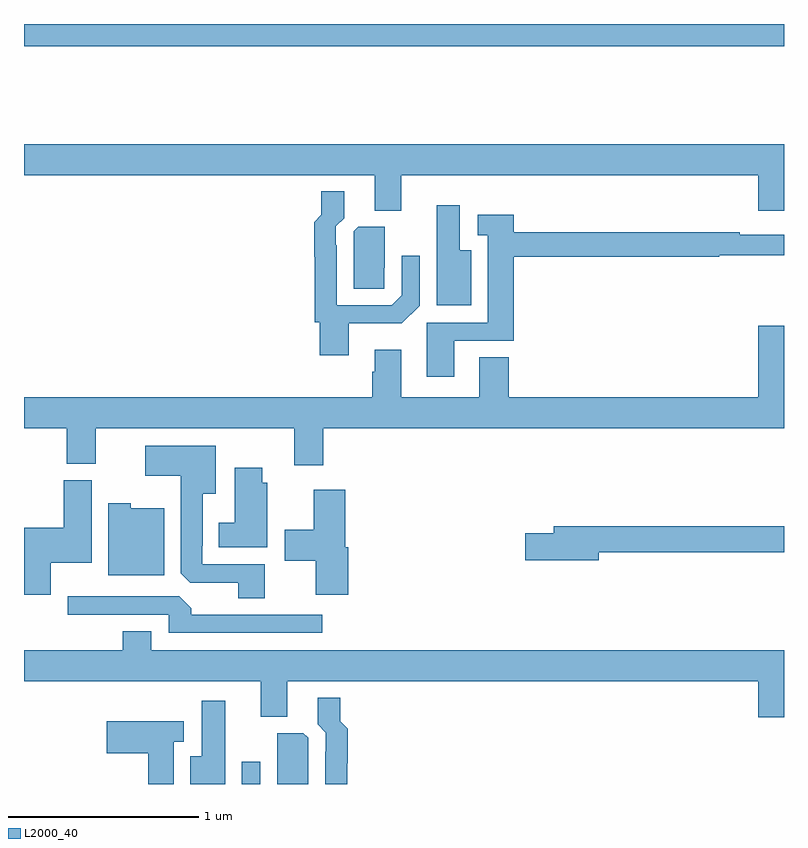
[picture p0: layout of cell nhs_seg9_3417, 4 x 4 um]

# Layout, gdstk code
import gdstk
lib = gdstk.Library(unit=1e-6, precision=1e-09)
def R(c, l, rs):  # rectangles x0, y0, x1, y1
    for r in rs: c.add(gdstk.rectangle(r[:2], r[2:], *l))
def P(c, l, *ps):  # polygons
    for p in ps: c.add(gdstk.Polygon(p, *l))
L2000_40 = (2000, 40)

nhs_seg9_3417 = lib.new_cell('nhs_seg9_3417')
R(nhs_seg9_3417, L2000_40, [(306.147,1242.5,306.243,1242.616), (305,1246.384,309,1246.5)])
P(nhs_seg9_3417, L2000_40, [(305,1245.704),(306.845,1245.704),(306.845,1245.517),(306.985,1245.517),(306.985,1245.704),(308.864,1245.704),(308.864,1245.516),(309,1245.516),(309,1245.868),(305,1245.868)],
  [(306.709,1244.924),(306.989,1244.924),(307.083,1245.018),(307.083,1245.28),(306.987,1245.28),(306.987,1245.072),(306.936,1245.021),(306.645,1245.021),(306.645,1245.335),(306.642,1245.335),(306.642,1245.435),(306.685,1245.478),(306.685,1245.619),(306.565,1245.619),(306.565,1245.495),(306.527,1245.456),(306.527,1245.274),(306.529,1245.274),(306.529,1244.931),(306.557,1244.931),(306.557,1244.757),(306.709,1244.757)],
  [(307.354,1245.31),(307.294,1245.31),(307.294,1245.547),(307.172,1245.547),(307.172,1245.02),(307.354,1245.02)],
  [(307.264,1244.832),(307.577,1244.832),(307.577,1245.274),(308.66,1245.274),(308.66,1245.282),(309,1245.282),(309,1245.39),(308.768,1245.39),(308.768,1245.403),(307.577,1245.403),(307.577,1245.497),(307.389,1245.497),(307.389,1245.387),(307.442,1245.387),(307.442,1244.928),(307.121,1244.928),(307.121,1244.643),(307.264,1244.643)],
  [(306.897,1245.217),(306.898,1245.217),(306.898,1245.432),(306.759,1245.432),(306.735,1245.408),(306.735,1245.106),(306.897,1245.106)],
  [(306.575,1244.372),(309,1244.372),(309,1244.911),(308.864,1244.911),(308.864,1244.536),(307.55,1244.536),(307.55,1244.747),(307.397,1244.747),(307.397,1244.536),(306.985,1244.536),(306.985,1244.785),(306.845,1244.785),(306.845,1244.669),(306.833,1244.669),(306.833,1244.536),(305,1244.536),(305,1244.372),(305.225,1244.372),(305.225,1244.185),(305.377,1244.185),(305.377,1244.372),(306.422,1244.372),(306.422,1244.178),(306.575,1244.178)],
  [(306.268,1243.656),(305.937,1243.656),(305.937,1243.753),(305.941,1243.753),(305.941,1244.027),(306.01,1244.027),(306.01,1244.281),(305.637,1244.281),(305.637,1244.123),(305.825,1244.123),(305.825,1243.609),(305.874,1243.56),(306.128,1243.56),(306.128,1243.477),(306.268,1243.477)],
  [(306.28,1244.085),(306.253,1244.085),(306.253,1244.164),(306.11,1244.164),(306.11,1243.876),(306.026,1243.876),(306.026,1243.745),(306.28,1243.745)],
  [(305.14,1243.664),(305.356,1243.664),(305.356,1244.1),(305.21,1244.1),(305.21,1243.849),(305,1243.849),(305,1243.497),(305.14,1243.497)],
  [(306.707,1243.745),(306.692,1243.745),(306.692,1244.05),(306.524,1244.05),(306.524,1243.839),(306.372,1243.839),(306.372,1243.676),(306.536,1243.676),(306.536,1243.497),(306.707,1243.497)],
  [(305.737,1243.951),(305.562,1243.951),(305.562,1243.978),(305.444,1243.978),(305.444,1243.598),(305.737,1243.598)],
  [(308.026,1243.72),(309,1243.72),(309,1243.856),(307.787,1243.856),(307.787,1243.82),(307.638,1243.82),(307.638,1243.678),(308.026,1243.678)],
  [(306.571,1243.392),(305.879,1243.392),(305.879,1243.426),(305.817,1243.488),(305.229,1243.488),(305.229,1243.392),(305.763,1243.392),(305.763,1243.296),(306.571,1243.296)],
  [(309,1243.204),(305.671,1243.204),(305.671,1243.303),(305.519,1243.303),(305.519,1243.204),(305,1243.204),(305,1243.04),(306.245,1243.04),(306.245,1242.853),(306.385,1242.853),(306.385,1243.04),(308.864,1243.04),(308.864,1242.852),(309,1242.852)],
  [(306.701,1242.61),(306.704,1242.61),(306.704,1242.792),(306.665,1242.831),(306.665,1242.955),(306.545,1242.955),(306.545,1242.814),(306.588,1242.771),(306.588,1242.671),(306.585,1242.671),(306.585,1242.5),(306.701,1242.5)],
  [(306.058,1242.937),(305.936,1242.937),(305.936,1242.646),(305.876,1242.646),(305.876,1242.5),(306.058,1242.5)],
  [(305.788,1242.723),(305.842,1242.723),(305.842,1242.831),(305.436,1242.831),(305.436,1242.662),(305.654,1242.662),(305.654,1242.5),(305.788,1242.5)],
  [(306.495,1242.744),(306.471,1242.768),(306.332,1242.768),(306.332,1242.553),(306.333,1242.553),(306.333,1242.5),(306.495,1242.5)])

lib.write_gds('nhs_seg9_3417.gds')
